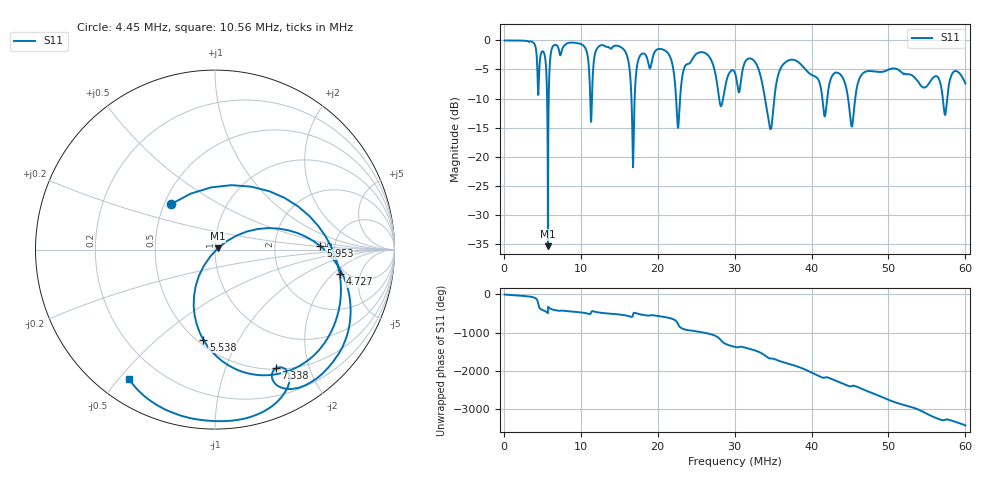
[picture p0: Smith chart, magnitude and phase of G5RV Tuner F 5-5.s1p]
# Hz S RI R 50
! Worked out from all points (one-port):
!   3030 points, 100 kHz to 60 MHz, reference 50 ohm
!   lowest |S11| = -35.3 dB at 5.736 MHz (marker M1), VSWR 1.03, Z = 51.6 + j0.72 ohm
!   |S11| at or under -10 dB: 33.95 MHz to 35.16 MHz (1.208 MHz wide, 3.49 % of centre); 41.41 MHz to 42.03 MHz (618.2 kHz wide, 1.48 % of centre); 44.75 MHz to 45.67 MHz (921.7 kHz wide, 2.04 % of centre)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
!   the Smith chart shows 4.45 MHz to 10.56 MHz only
!   S11 on the Smith chart (normalised r, x): 4.45 MHz: 0.54, +0.32; 4.727 MHz: 4.46, -2.44; 5.538 MHz: 0.54, -0.72; 5.953 MHz: 3.84, +0.23; 7.338 MHz: 0.51, -1.51; 10.56 MHz: 0.09, -0.53
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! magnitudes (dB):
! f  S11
! 100 kHz  0.0
! 4.45 MHz  -9.1
! 4.727 MHz  -3.0
! 5.538 MHz  -5.9
! 5.736 MHz  -35.3
! 5.953 MHz  -4.6
! 7.338 MHz  -2.6
! 7.595 MHz  -1.5
! 10.56 MHz  -1.3
! 11.35 MHz  -14.0
! 12.18 MHz  -1.3
! 15.09 MHz  -1.1
! 16.77 MHz  -20.9
! 17.62 MHz  -2.8
! 20.17 MHz  -1.5
! 22.56 MHz  -14.1
! 25.15 MHz  -2.2
! 28.22 MHz  -11.3
! 30.06 MHz  -5.6
! 32.65 MHz  -3.7
! 34.65 MHz  -15.2
! 37.55 MHz  -3.3
! 41.71 MHz  -13.1
! 43.72 MHz  -5.8
! 45.03 MHz  -13.2
! 46.81 MHz  -5.5
! 52.52 MHz  -5.8
! 60 MHz  -7.4
